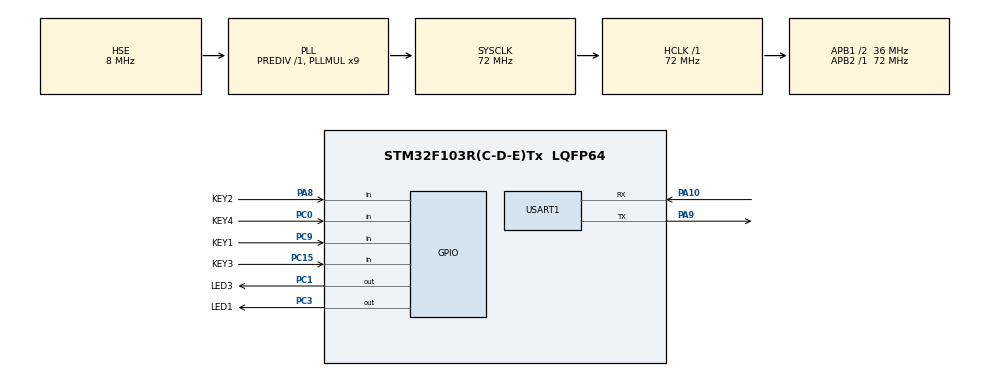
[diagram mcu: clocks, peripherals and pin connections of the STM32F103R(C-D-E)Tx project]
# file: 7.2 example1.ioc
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Mcu.Family=STM32F1
Mcu.Name=STM32F103R(C-D-E)Tx
Mcu.Package=LQFP64
NVIC.PriorityGroup=NVIC_PRIORITYGROUP_4
NVIC.TIM6_IRQn=true\:15\:0\:false\:false\:true\:false\:true\:true
NVIC.TimeBase=TIM6_IRQn
NVIC.TimeBaseIP=TIM6
PA10.Mode=Asynchronous
PA10.Signal=USART1_RX
PA13.Mode=Serial_Wire
PA13.Signal=SYS_JTMS-SWDIO
PA14.Mode=Serial_Wire
PA14.Signal=SYS_JTCK-SWCLK
PA8.GPIO_Label=KEY2
PA8.GPIO_PuPd=GPIO_PULLUP
PA8.Signal=GPIO_Input
PA9.Mode=Asynchronous
PA9.Signal=USART1_TX
PC0.GPIO_Label=KEY4
PC0.GPIO_PuPd=GPIO_PULLUP
PC0.Signal=GPIO_Input
PC1.GPIO_Label=LED3
PC1.Signal=GPIO_Output
PC15-OSC32_OUT.GPIO_Label=KEY3
PC15-OSC32_OUT.GPIO_PuPd=GPIO_PULLUP
PC15-OSC32_OUT.Signal=GPIO_Input
PC3.GPIO_Label=LED1
PC3.Signal=GPIO_Output
PC9.GPIO_Label=KEY1
PC9.GPIO_PuPd=GPIO_PULLUP
PC9.Signal=GPIO_Input
PD0-OSC_IN.Mode=HSE-External-Oscillator
PD0-OSC_IN.Signal=RCC_OSC_IN
PD1-OSC_OUT.Mode=HSE-External-Oscillator
PD1-OSC_OUT.Signal=RCC_OSC_OUT
ProjectManager.HeapSize=0x200
ProjectManager.StackSize=0x400
ProjectManager.TargetToolchain=STM32CubeIDE
RCC.AHBFreq_Value=72000000
RCC.APB1CLKDivider=RCC_HCLK_DIV2
RCC.APB1Freq_Value=36000000
RCC.APB1TimFreq_Value=72000000
RCC.APB2Freq_Value=72000000
RCC.APB2TimFreq_Value=72000000
RCC.HCLKFreq_Value=72000000
RCC.PLLMUL=RCC_PLL_MUL9
RCC.PLLSourceVirtual=RCC_PLLSOURCE_HSE
RCC.SYSCLKFreq_VALUE=72000000
RCC.SYSCLKSource=RCC_SYSCLKSOURCE_PLLCLK
RCC.USBFreq_Value=72000000
USART1.VirtualMode=VM_ASYNC
VP_SYS_VS_tim6.Mode=TIM6
board=custom

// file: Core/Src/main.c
/* USER CODE BEGIN Header */
/**
  ******************************************************************************
  * @file           : main.c
  * @brief          : Main program body
  ******************************************************************************
  * @attention
  *
  * Copyright (c) 2026 STMicroelectronics.
  * All rights reserved.
  *
  * This software is licensed under terms that can be found in the LICENSE file
  * in the root directory of this software component.
  * If no LICENSE file comes with this software, it is provided AS-IS.
  *
  ******************************************************************************
  */
/* USER CODE END Header */
#include "main.h"

/* USER CODE BEGIN Includes */
#include "FreeRTOS.h"
#include "task.h"
#include "semphr.h"
#include "string.h"
/* USER CODE END Includes */

/* USER CODE BEGIN PTD */

typedef struct
{
    GPIO_TypeDef *KEY_GPIO_Port;	// 按钮引脚
    uint16_t      KEY_GPIO_Pin;		// 按钮引脚号
    const char   *Name;				// 车辆名字
} Car_TypeDef;

/* USER CODE END PTD */

UART_HandleTypeDef huart1;

/* USER CODE BEGIN PV */

// 准备任务参数
const Car_TypeDef carA = {.KEY_GPIO_Port = KEY1_GPIO_Port, .KEY_GPIO_Pin = KEY1_Pin, .Name = "汽车A"};
const Car_TypeDef carB = {.KEY_GPIO_Port = KEY2_GPIO_Port, .KEY_GPIO_Pin = KEY2_Pin, .Name = "汽车B"};
const Car_TypeDef carC = {.KEY_GPIO_Port = KEY3_GPIO_Port, .KEY_GPIO_Pin = KEY3_Pin, .Name = "汽车C"};
const Car_TypeDef carD = {.KEY_GPIO_Port = KEY4_GPIO_Port, .KEY_GPIO_Pin = KEY4_Pin, .Name = "汽车D"};

SemaphoreHandle_t xSemaphore1;

/* USER CODE END PV */

void SystemClock_Config(void);
static void MX_GPIO_Init(void);
static void MX_USART1_UART_Init(void);
/* USER CODE BEGIN PFP */

static void WaitForKeyClick(GPIO_TypeDef *GPIO_Port, uint16_t GPIO_Pin);
static void PrintString2(const char *Str1, const char *Str2);

/* USER CODE END PFP */

/* USER CODE BEGIN 0 */

// @作用：等待按钮点击动作
static void WaitForKeyClick(GPIO_TypeDef *GPIO_Port, uint16_t GPIO_Pin)
{
    GPIO_PinState currentState, lastState = GPIO_PIN_SET;

    for(;;)
    {
        currentState = HAL_GPIO_ReadPin(GPIO_Port, GPIO_Pin);
        if(lastState != currentState && currentState == GPIO_PIN_SET)
        {
            return;     //检测到按钮点击后函数结束
        }

        lastState = currentState;
        vTaskDelay(pdMS_TO_TICKS(10));
    }
}

static void vCarTask(void *pvParameters)
{
	Car_TypeDef *car = (Car_TypeDef *)pvParameters;
	for(;;)
	{
		// #1. 第一次按按钮，入场，取信号
		WaitForKeyClick(car->KEY_GPIO_Port, car->KEY_GPIO_Pin);
		// 取信号（取得令牌）
		if(xSemaphoreTake(xSemaphore1, pdMS_TO_TICKS(10000)) == pdPASS)
		{
			PrintString2(car->Name, " 入场\n");
		}
		else
		{
			PrintString2(car->Name, " 入场失败\n");
			continue;   // 入场失败，提前结束并进入下一次循环
		}

		// #2. 第二次按按钮，出场
		WaitForKeyClick(car->KEY_GPIO_Port, car->KEY_GPIO_Pin);
		// 给信号（归还令牌）
		xSemaphoreGive(xSemaphore1);
		PrintString2(car->Name, " 出场\n");
	}
}

static void PrintString2(const char *Str1, const char *Str2)
{
	vTaskSuspendAll();		//暂停调度器

	HAL_UART_Transmit(&huart1, (const uint8_t *)Str1, strlen(Str1), HAL_MAX_DELAY);		//发送第一个字符串
	HAL_UART_Transmit(&huart1, (const uint8_t *)Str2, strlen(Str2), HAL_MAX_DELAY);		//发送第二个字符串

	xTaskResumeAll();		//恢复调度器
}

/* USER CODE END 0 */

int main(void)
{

  /* MCU Configuration--------------------------------------------------------*/

  /* Reset of all peripherals, Initializes the Flash interface and the Systick. */
  HAL_Init();

  /* Configure the system clock */
  SystemClock_Config();

  /* Initialize all configured peripherals */
  MX_GPIO_Init();
  MX_USART1_UART_Init();
  /* USER CODE BEGIN 2 */

  // 在main()方法里使用Car_TypeDef作为参数创建任务
  xTaskCreate(vCarTask, "A", 64, (void *)&carA, 1, NULL);
  xTaskCreate(vCarTask, "B", 64, (void *)&carB, 1, NULL);
  xTaskCreate(vCarTask, "C", 64, (void *)&carC, 1, NULL);
  xTaskCreate(vCarTask, "D", 64, (void *)&carD, 1, NULL);

  xSemaphore1 = xQueueCreateCountingSemaphore(3, 3);		// 创建计数信号量，初始值为3

  vTaskStartScheduler();
  /* USER CODE END 2 */

  /* Infinite loop */
  while (1)
  {

  }
}

void SystemClock_Config(void)
{
  RCC_OscInitTypeDef RCC_OscInitStruct = {0};
  RCC_ClkInitTypeDef RCC_ClkInitStruct = {0};

  /** Initializes the RCC Oscillators according to the specified parameters
  * in the RCC_OscInitTypeDef structure.
  */
  RCC_OscInitStruct.OscillatorType = RCC_OSCILLATORTYPE_HSE;
  RCC_OscInitStruct.HSEState = RCC_HSE_ON;
  RCC_OscInitStruct.HSEPredivValue = RCC_HSE_PREDIV_DIV1;
  RCC_OscInitStruct.HSIState = RCC_HSI_ON;
  RCC_OscInitStruct.PLL.PLLState = RCC_PLL_ON;
  RCC_OscInitStruct.PLL.PLLSource = RCC_PLLSOURCE_HSE;
  RCC_OscInitStruct.PLL.PLLMUL = RCC_PLL_MUL9;
  if (HAL_RCC_OscConfig(&RCC_OscInitStruct) != HAL_OK)
  {
    Error_Handler();
  }

  /** Initializes the CPU, AHB and APB buses clocks
  */
  RCC_ClkInitStruct.ClockType = RCC_CLOCKTYPE_HCLK|RCC_CLOCKTYPE_SYSCLK
                              |RCC_CLOCKTYPE_PCLK1|RCC_CLOCKTYPE_PCLK2;
  RCC_ClkInitStruct.SYSCLKSource = RCC_SYSCLKSOURCE_PLLCLK;
  RCC_ClkInitStruct.AHBCLKDivider = RCC_SYSCLK_DIV1;
  RCC_ClkInitStruct.APB1CLKDivider = RCC_HCLK_DIV2;
  RCC_ClkInitStruct.APB2CLKDivider = RCC_HCLK_DIV1;

  if (HAL_RCC_ClockConfig(&RCC_ClkInitStruct, FLASH_LATENCY_2) != HAL_OK)
  {
    Error_Handler();
  }
}

static void MX_USART1_UART_Init(void)
{

  huart1.Instance = USART1;
  huart1.Init.BaudRate = 115200;
  huart1.Init.WordLength = UART_WORDLENGTH_8B;
  huart1.Init.StopBits = UART_STOPBITS_1;
  huart1.Init.Parity = UART_PARITY_NONE;
  huart1.Init.Mode = UART_MODE_TX_RX;
  huart1.Init.HwFlowCtl = UART_HWCONTROL_NONE;
  huart1.Init.OverSampling = UART_OVERSAMPLING_16;
  if (HAL_UART_Init(&huart1) != HAL_OK)
  {
    Error_Handler();
  }

}

static void MX_GPIO_Init(void)
{
  GPIO_InitTypeDef GPIO_InitStruct = {0};

  /* GPIO Ports Clock Enable */
  __HAL_RCC_GPIOC_CLK_ENABLE();
  __HAL_RCC_GPIOD_CLK_ENABLE();
  __HAL_RCC_GPIOA_CLK_ENABLE();

  /*Configure GPIO pin Output Level */
  HAL_GPIO_WritePin(GPIOC, LED3_Pin|LED1_Pin, GPIO_PIN_RESET);

  /*Configure GPIO pins : KEY3_Pin KEY4_Pin KEY1_Pin */
  GPIO_InitStruct.Pin = KEY3_Pin|KEY4_Pin|KEY1_Pin;
  GPIO_InitStruct.Mode = GPIO_MODE_INPUT;
  GPIO_InitStruct.Pull = GPIO_PULLUP;
  HAL_GPIO_Init(GPIOC, &GPIO_InitStruct);

  /*Configure GPIO pins : LED3_Pin LED1_Pin */
  GPIO_InitStruct.Pin = LED3_Pin|LED1_Pin;
  GPIO_InitStruct.Mode = GPIO_MODE_OUTPUT_PP;
  GPIO_InitStruct.Pull = GPIO_NOPULL;
  GPIO_InitStruct.Speed = GPIO_SPEED_FREQ_LOW;
  HAL_GPIO_Init(GPIOC, &GPIO_InitStruct);

  /*Configure GPIO pin : KEY2_Pin */
  GPIO_InitStruct.Pin = KEY2_Pin;
  GPIO_InitStruct.Mode = GPIO_MODE_INPUT;
  GPIO_InitStruct.Pull = GPIO_PULLUP;
  HAL_GPIO_Init(KEY2_GPIO_Port, &GPIO_InitStruct);

}

void HAL_TIM_PeriodElapsedCallback(TIM_HandleTypeDef *htim)
{
  if (htim->Instance == TIM6)
  {
    HAL_IncTick();
  }
}

void Error_Handler(void)
{
  __disable_irq();
  while (1)
  {
  }
}
